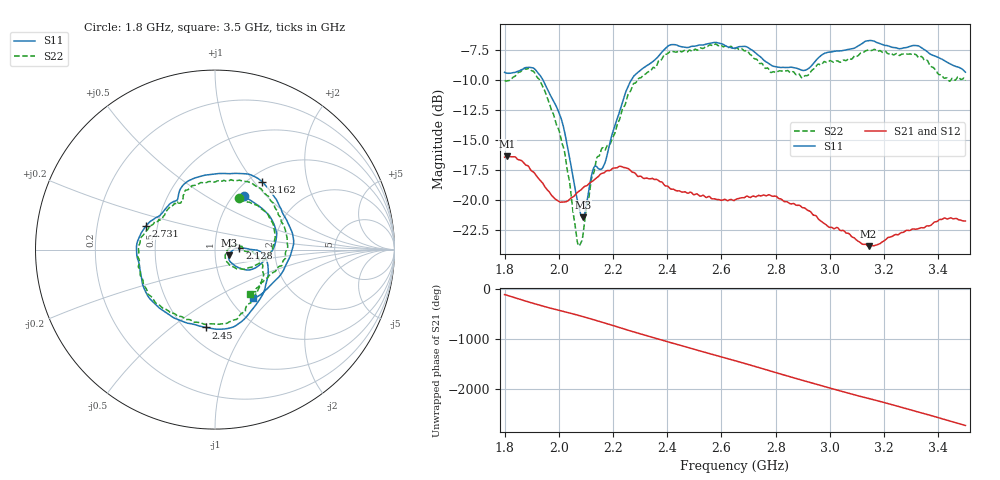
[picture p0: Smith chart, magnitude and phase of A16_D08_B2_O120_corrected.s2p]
! Created with skrf 1.9.0 (http://scikit-rf.org).
# Hz S RI R 50.0
!freq ReS11 ImS11 ReS21 ImS21 ReS12 ImS12 ReS22 ImS22
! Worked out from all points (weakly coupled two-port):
!   1601 points, 1.8 GHz to 3.5 GHz, reference 50 ohm
!   highest |S21| = -16.37 dB at 1.811 GHz (marker M1); lowest = -23.9 dB at 3.143 GHz (marker M2)
!   lowest |S11| = -21.5 dB at 2.088 GHz (marker M3), VSWR 1.18, Z = 58.4 - j3.62 ohm
!   |S11| at or under -10 dB: 1.942 GHz to 2.267 GHz (325.1 MHz wide, 15.4 % of centre)
!   |S22| runs from -23.9 to -7.0 dB; largest |S21 - S12| = 0.003
!   S11 on the Smith chart (normalised r, x): 1.8 GHz: 1.12, +0.76; 2.128 GHz: 1.31, +0.02; 2.45 GHz: 0.63, -0.67; 2.731 GHz: 0.43, +0.13; 3.162 GHz: 1.15, +1.10; 3.5 GHz: 1.27, -0.77
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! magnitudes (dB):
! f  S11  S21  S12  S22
! 1.8 GHz  -9.3  -16.4  -16.4  -10.0
! 1.811 GHz  -9.4  -16.4  -16.4  -10.0
! 1.887 GHz  -8.9  -17.2  -17.2  -9.0
! 1.94 GHz  -9.9  -18.6  -18.6  -10.5
! 2.011 GHz  -13.4  -20.2  -20.2  -15.2
! 2.067 GHz  -19.8  -19.4  -19.4  -23.3
! 2.084 GHz  -21.4  -19.1  -19.1  -23.5
! 2.088 GHz  -21.5  -19.0  -19.0  -23.1
! 2.128 GHz  -17.3  -18.4  -18.4  -17.8
! 2.167 GHz  -17.1  -17.7  -17.7  -15.8
! 2.268 GHz  -10.0  -17.6  -17.6  -10.8
! 2.367 GHz  -8.0  -18.4  -18.3  -8.4
! 2.45 GHz  -7.2  -19.3  -19.3  -7.6
! 2.65 GHz  -7.3  -20.0  -20.0  -7.4
! 2.731 GHz  -7.8  -19.7  -19.7  -8.3
! 2.787 GHz  -8.8  -19.7  -19.7  -9.3
! 2.934 GHz  -8.8  -21.2  -21.1  -9.2
! 3.143 GHz  -6.7  -23.9  -23.8  -7.5
! 3.162 GHz  -6.7  -23.8  -23.8  -7.4
! 3.217 GHz  -7.2  -23.1  -23.1  -7.8
! 3.326 GHz  -7.1  -22.4  -22.4  -8.1
! 3.5 GHz  -9.3  -21.8  -21.8  -10.0
